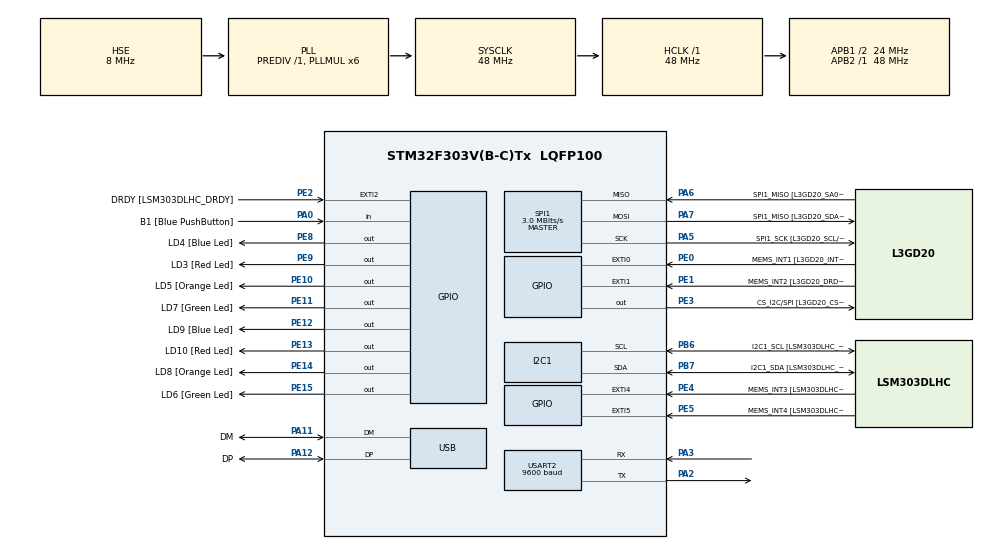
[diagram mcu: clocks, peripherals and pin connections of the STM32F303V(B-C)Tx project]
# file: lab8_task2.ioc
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I2C1.Timing=0x00201D2B
I2C1.Timing-I2C=0x2000090E
Mcu.Family=STM32F3
Mcu.Name=STM32F303V(B-C)Tx
Mcu.Package=LQFP100
NVIC.PriorityGroup=NVIC_PRIORITYGROUP_0
NVIC.SPI1_IRQn=true\:0\:0\:false\:false\:true\:true\:true\:true
PA0.GPIO_Label=B1 [Blue PushButton]
PA0.Signal=GPIO_Input
PA11.GPIO_Label=DM
PA11.Mode=Device
PA11.Signal=USB_DM
PA12.GPIO_Label=DP
PA12.Mode=Device
PA12.Signal=USB_DP
PA13.GPIO_Label=SWDIO
PA13.Mode=Serial_Wire
PA13.Signal=SYS_JTMS-SWDIO
PA14.GPIO_Label=SWCLK
PA14.Mode=Serial_Wire
PA14.Signal=SYS_JTCK-SWCLK
PA2.Mode=Asynchronous
PA2.Signal=USART2_TX
PA3.Mode=Asynchronous
PA3.Signal=USART2_RX
PA5.GPIO_Label=SPI1_SCK [L3GD20_SCL/SPC]
PA5.Mode=Full_Duplex_Master
PA5.Signal=SPI1_SCK
PA6.GPIO_Label=SPI1_MISO [L3GD20_SA0/SDO]
PA6.Mode=Full_Duplex_Master
PA6.Signal=SPI1_MISO
PA7.GPIO_Label=SPI1_MISO [L3GD20_SDA/SDI/SDO]
PA7.Mode=Full_Duplex_Master
PA7.Signal=SPI1_MOSI
PB3.GPIO_Label=SWO
PB3.Signal=SYS_JTDO-TRACESWO
PB6.GPIO_Label=I2C1_SCL [LSM303DLHC_SCL]
PB6.GPIO_Pu=GPIO_PULLUP
PB6.Mode=I2C
PB6.Signal=I2C1_SCL
PB7.GPIO_Label=I2C1_SDA [LSM303DLHC_SDA]
PB7.GPIO_Pu=GPIO_PULLUP
PB7.Mode=I2C
PB7.Signal=I2C1_SDA
PC14-OSC32_IN.GPIO_Label=OSC32_IN
PC14-OSC32_IN.Signal=RCC_OSC32_IN
PC15-OSC32_OUT.GPIO_Label=OSC32_OUT
PC15-OSC32_OUT.Signal=RCC_OSC32_OUT
PE0.GPIO_Label=MEMS_INT1 [L3GD20_INT1]
PE0.GPIO_ModeDefaultEXTI=GPIO_MODE_EVT_RISING
PE0.Signal=GPXTI0
PE1.GPIO_Label=MEMS_INT2 [L3GD20_DRDY/INT2]
PE1.GPIO_ModeDefaultEXTI=GPIO_MODE_EVT_RISING
PE1.Signal=GPXTI1
PE10.GPIO_Label=LD5 [Orange Led]
PE10.Signal=GPIO_Output
PE11.GPIO_Label=LD7 [Green Led]
PE11.Signal=GPIO_Output
PE12.GPIO_Label=LD9 [Blue Led]
PE12.Signal=GPIO_Output
PE13.GPIO_Label=LD10 [Red Led]
PE13.Signal=GPIO_Output
PE14.GPIO_Label=LD8 [Orange Led]
PE14.Signal=GPIO_Output
PE15.GPIO_Label=LD6 [Green Led]
PE15.Signal=GPIO_Output
PE2.GPIO_Label=DRDY [LSM303DLHC_DRDY]
PE2.GPIO_ModeDefaultEXTI=GPIO_MODE_EVT_RISING
PE2.Signal=GPXTI2
PE3.GPIO_Label=CS_I2C/SPI [L3GD20_CS_I2C/SPI]
PE3.Signal=GPIO_Output
PE4.GPIO_Label=MEMS_INT3 [LSM303DLHC_INT1]
PE4.GPIO_ModeDefaultEXTI=GPIO_MODE_EVT_RISING
PE4.Signal=GPXTI4
PE5.GPIO_Label=MEMS_INT4 [LSM303DLHC_INT2]
PE5.GPIO_ModeDefaultEXTI=GPIO_MODE_EVT_RISING
PE5.Signal=GPXTI5
PE8.GPIO_Label=LD4 [Blue Led]
PE8.Signal=GPIO_Output
PE9.GPIO_Label=LD3 [Red Led]
PE9.Signal=GPIO_Output
PF0-OSC_IN.GPIO_Label=OSC_IN
PF0-OSC_IN.Mode=HSE-External-Clock-Source
PF0-OSC_IN.Signal=RCC_OSC_IN
PF1-OSC_OUT.GPIO_Label=OSC_OUT
PF1-OSC_OUT.Signal=RCC_OSC_OUT
ProjectManager.HeapSize=0x200
ProjectManager.StackSize=0x400
ProjectManager.TargetToolchain=CMake
RCC.AHBFreq_Value=48000000
RCC.APB1CLKDivider=RCC_HCLK_DIV2
RCC.APB1Freq_Value=24000000
RCC.APB1TimFreq_Value=48000000
RCC.APB2Freq_Value=48000000
RCC.APB2TimFreq_Value=48000000
RCC.CortexFreq_Value=48000000
RCC.HCLKFreq_Value=48000000
RCC.HSE_VALUE=8000000
RCC.HSI_VALUE=8000000
RCC.LSE_VALUE=32768
RCC.PLLMUL=RCC_PLL_MUL6
RCC.SYSCLKFreq_VALUE=48000000
RCC.SYSCLKSourceVirtual=RCC_SYSCLKSOURCE_PLLCLK
RCC.USBFreq_Value=48000000
SPI1.BaudRatePrescaler=SPI_BAUDRATEPRESCALER_16
SPI1.BaudRatePrescaler-Full_Duplex_Master=SPI_BAUDRATEPRESCALER_2
SPI1.CLKPhase=SPI_PHASE_2EDGE
SPI1.CLKPolarity=SPI_POLARITY_HIGH
SPI1.CalculateBaudRate=3.0 MBits/s
SPI1.CalculateBaudRate-Full_Duplex_Master=24.0 MBits/s
SPI1.DataSize=SPI_DATASIZE_8BIT
SPI1.Direction=SPI_DIRECTION_2LINES
SPI1.Mode=SPI_MODE_MASTER
SPI1.Mode-Full_Duplex_Master=SPI_MODE_MASTER
SPI1.VirtualType=VM_MASTER
USART2.BaudRate=9600
USART2.VirtualMode-Asynchronous=VM_ASYNC
board=STM32F3DISCOVERY

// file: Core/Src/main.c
/* USER CODE BEGIN Header */
/**
  ******************************************************************************
  * @file           : main.c
  * @brief          : Main program body
  ******************************************************************************
  * @attention
  *
  * Copyright (c) 2025 STMicroelectronics.
  * All rights reserved.
  *
  * This software is licensed under terms that can be found in the LICENSE file
  * in the root directory of this software component.
  * If no LICENSE file comes with this software, it is provided AS-IS.
  *
  ******************************************************************************
  */
/* USER CODE END Header */
#include "main.h"
#include <stdio.h>
#include <string.h>

#define GYRO_CTRL_REG1   0x20
#define GYRO_OUT_TEMP    0x26

static volatile uint8_t spi_busy = 0;
static uint8_t tx_cmd = (uint8_t)(0x80 | (GYRO_OUT_TEMP & 0x3F)); // READ single byte (no auto-inc)
static uint8_t rx_byte = 0;

static float T0_C = 20.0f;
static int8_t raw0 = 0;

#define GYRO_WHO_AM_I   0x0F
#define CAL_ROOM_C      20   // actual room temperature in °C

static int8_t g_t0 = 0;          // baseline raw OUT_TEMP at startup
static int    g_temp_slope = -1; // default slope, updated after WHO_AM_I

I2C_HandleTypeDef hi2c1;

SPI_HandleTypeDef hspi1;

UART_HandleTypeDef huart2;

PCD_HandleTypeDef hpcd_USB_FS;

void SystemClock_Config(void);
static void MX_GPIO_Init(void);
static void MX_I2C1_Init(void);
static void MX_SPI1_Init(void);
static void MX_USART2_UART_Init(void);
static void MX_USB_PCD_Init(void);

  static inline void GYRO_CS_LOW(void)  { HAL_GPIO_WritePin(GPIOE, GPIO_PIN_3, GPIO_PIN_RESET); }
static inline void GYRO_CS_HIGH(void) { HAL_GPIO_WritePin(GPIOE, GPIO_PIN_3, GPIO_PIN_SET);  }

static void uart_print(const char *s)
{
  HAL_UART_Transmit(&huart2, (uint8_t*)s, (uint16_t)strlen(s), HAL_MAX_DELAY);
}

// CTRL_REG1 (0x20) = 0x0F  -> PD=1, Xen=1, Yen=1, Zen=1
static void gyro_init(void)
{
  uint8_t frame[2] = { GYRO_CTRL_REG1, 0x0F };  // write (Bit7=0)
  GYRO_CS_LOW();
  HAL_SPI_Transmit(&hspi1, frame, 2, HAL_MAX_DELAY);
  GYRO_CS_HIGH();
}
// Read one register over SPI (blocking)
static uint8_t gyro_read_u8(uint8_t reg)
{
  uint8_t cmd = (uint8_t)(0x80 | (reg & 0x3F));  // read, no auto-inc
  uint8_t val = 0;
  GYRO_CS_LOW();
  HAL_SPI_Transmit(&hspi1, &cmd, 1, HAL_MAX_DELAY);
  HAL_SPI_Receive(&hspi1, &val, 1, HAL_MAX_DELAY);
  GYRO_CS_HIGH();
  return val;
}

// Calibrate temperature: detect slope and capture baseline
static void gyro_temp_calibrate(void)
{
  uint8_t who = gyro_read_u8(GYRO_WHO_AM_I);

  // Determine slope based on chip ID
  if (who == 0xD4 || who == 0xD7)
      g_temp_slope = +1;   // L3GD20 family
  else
      g_temp_slope = -1;   // I3G4250D family

  // Average several samples for baseline
  int32_t sum = 0;
  for (int i = 0; i < 32; i++) {
    sum += (int8_t)gyro_read_u8(GYRO_OUT_TEMP);
    HAL_Delay(5);
  }
  g_t0 = (int8_t)(sum / 32);

  char msg[64];
  snprintf(msg, sizeof(msg), "WHO=0x%02X, t0=%d, slope=%d\r\n", who, (int)g_t0, g_temp_slope);
  uart_print(msg);
}
static void gyro_capture_baseline(void)
{
  uint8_t cmd = (uint8_t)(0x80 | (GYRO_OUT_TEMP & 0x3F));
  uint8_t r = 0;

  GYRO_CS_LOW();
  HAL_SPI_Transmit(&hspi1, &cmd, 1, HAL_MAX_DELAY);
  HAL_SPI_Receive(&hspi1, &r, 1, HAL_MAX_DELAY);
  GYRO_CS_HIGH();

  raw0 = (int8_t)r;
}

static void gyro_start_temp_read_IT(void)
{
  if (spi_busy) return;
  spi_busy = 1;
  GYRO_CS_LOW();
  if (HAL_SPI_Transmit_IT(&hspi1, &tx_cmd, 1) != HAL_OK)
  {
    GYRO_CS_HIGH();
    spi_busy = 0;
  }
}

int main(void)
{

  /* MCU Configuration--------------------------------------------------------*/

  /* Reset of all peripherals, Initializes the Flash interface and the Systick. */
  HAL_Init();

  /* Configure the system clock */
  SystemClock_Config();

  /* Initialize all configured peripherals */
  MX_GPIO_Init();
  MX_I2C1_Init();
  MX_SPI1_Init();
  MX_USART2_UART_Init();
  MX_USB_PCD_Init();
  /* USER CODE BEGIN 2 */
  HAL_GPIO_WritePin(GPIOE, GPIO_PIN_3, GPIO_PIN_SET);
  HAL_Delay(10);
  /* USER CODE END 2 */

  /* Infinite loop */
  /* USER CODE BEGIN WHILE */

  // Initialize gyro and capture baseline for temperature offset
  gyro_init();
  HAL_Delay(20);
  gyro_temp_calibrate();   // new calibration step
  HAL_Delay(20);

  uart_print("Temp stream (~ASCII degC) every ~100ms\r\n");

  while (1)
  {
    /* USER CODE END WHILE */
    gyro_start_temp_read_IT();     // non-blocking read start
    HAL_Delay(100);
  }
}

void SystemClock_Config(void)
{
  RCC_OscInitTypeDef RCC_OscInitStruct = {0};
  RCC_ClkInitTypeDef RCC_ClkInitStruct = {0};
  RCC_PeriphCLKInitTypeDef PeriphClkInit = {0};

  /** Initializes the RCC Oscillators according to the specified parameters
  * in the RCC_OscInitTypeDef structure.
  */
  RCC_OscInitStruct.OscillatorType = RCC_OSCILLATORTYPE_HSI|RCC_OSCILLATORTYPE_HSE;
  RCC_OscInitStruct.HSEState = RCC_HSE_BYPASS;
  RCC_OscInitStruct.HSEPredivValue = RCC_HSE_PREDIV_DIV1;
  RCC_OscInitStruct.HSIState = RCC_HSI_ON;
  RCC_OscInitStruct.HSICalibrationValue = RCC_HSICALIBRATION_DEFAULT;
  RCC_OscInitStruct.PLL.PLLState = RCC_PLL_ON;
  RCC_OscInitStruct.PLL.PLLSource = RCC_PLLSOURCE_HSE;
  RCC_OscInitStruct.PLL.PLLMUL = RCC_PLL_MUL6;
  if (HAL_RCC_OscConfig(&RCC_OscInitStruct) != HAL_OK)
  {
    Error_Handler();
  }

  /** Initializes the CPU, AHB and APB buses clocks
  */
  RCC_ClkInitStruct.ClockType = RCC_CLOCKTYPE_HCLK|RCC_CLOCKTYPE_SYSCLK
                              |RCC_CLOCKTYPE_PCLK1|RCC_CLOCKTYPE_PCLK2;
  RCC_ClkInitStruct.SYSCLKSource = RCC_SYSCLKSOURCE_PLLCLK;
  RCC_ClkInitStruct.AHBCLKDivider = RCC_SYSCLK_DIV1;
  RCC_ClkInitStruct.APB1CLKDivider = RCC_HCLK_DIV2;
  RCC_ClkInitStruct.APB2CLKDivider = RCC_HCLK_DIV1;

  if (HAL_RCC_ClockConfig(&RCC_ClkInitStruct, FLASH_LATENCY_1) != HAL_OK)
  {
    Error_Handler();
  }
  PeriphClkInit.PeriphClockSelection = RCC_PERIPHCLK_USB|RCC_PERIPHCLK_USART2
                              |RCC_PERIPHCLK_I2C1;
  PeriphClkInit.Usart2ClockSelection = RCC_USART2CLKSOURCE_PCLK1;
  PeriphClkInit.I2c1ClockSelection = RCC_I2C1CLKSOURCE_HSI;
  PeriphClkInit.USBClockSelection = RCC_USBCLKSOURCE_PLL;
  if (HAL_RCCEx_PeriphCLKConfig(&PeriphClkInit) != HAL_OK)
  {
    Error_Handler();
  }
}

static void MX_I2C1_Init(void)
{

  hi2c1.Instance = I2C1;
  hi2c1.Init.Timing = 0x00201D2B;
  hi2c1.Init.OwnAddress1 = 0;
  hi2c1.Init.AddressingMode = I2C_ADDRESSINGMODE_7BIT;
  hi2c1.Init.DualAddressMode = I2C_DUALADDRESS_DISABLE;
  hi2c1.Init.OwnAddress2 = 0;
  hi2c1.Init.OwnAddress2Masks = I2C_OA2_NOMASK;
  hi2c1.Init.GeneralCallMode = I2C_GENERALCALL_DISABLE;
  hi2c1.Init.NoStretchMode = I2C_NOSTRETCH_DISABLE;
  if (HAL_I2C_Init(&hi2c1) != HAL_OK)
  {
    Error_Handler();
  }

  /** Configure Analogue filter
  */
  if (HAL_I2CEx_ConfigAnalogFilter(&hi2c1, I2C_ANALOGFILTER_ENABLE) != HAL_OK)
  {
    Error_Handler();
  }

  /** Configure Digital filter
  */
  if (HAL_I2CEx_ConfigDigitalFilter(&hi2c1, 0) != HAL_OK)
  {
    Error_Handler();
  }

}

static void MX_SPI1_Init(void)
{

  /* SPI1 parameter configuration*/
  hspi1.Instance = SPI1;
  hspi1.Init.Mode = SPI_MODE_MASTER;
  hspi1.Init.Direction = SPI_DIRECTION_2LINES;
  hspi1.Init.DataSize = SPI_DATASIZE_8BIT;
  hspi1.Init.CLKPolarity = SPI_POLARITY_HIGH;
  hspi1.Init.CLKPhase = SPI_PHASE_2EDGE;
  hspi1.Init.NSS = SPI_NSS_SOFT;
  hspi1.Init.BaudRatePrescaler = SPI_BAUDRATEPRESCALER_16;
  hspi1.Init.FirstBit = SPI_FIRSTBIT_MSB;
  hspi1.Init.TIMode = SPI_TIMODE_DISABLE;
  hspi1.Init.CRCCalculation = SPI_CRCCALCULATION_DISABLE;
  hspi1.Init.CRCPolynomial = 7;
  hspi1.Init.CRCLength = SPI_CRC_LENGTH_DATASIZE;
  hspi1.Init.NSSPMode = SPI_NSS_PULSE_DISABLE;
  if (HAL_SPI_Init(&hspi1) != HAL_OK)
  {
    Error_Handler();
  }

}

static void MX_USART2_UART_Init(void)
{

  huart2.Instance = USART2;
  huart2.Init.BaudRate = 9600;
  huart2.Init.WordLength = UART_WORDLENGTH_8B;
  huart2.Init.StopBits = UART_STOPBITS_1;
  huart2.Init.Parity = UART_PARITY_NONE;
  huart2.Init.Mode = UART_MODE_TX_RX;
  huart2.Init.HwFlowCtl = UART_HWCONTROL_NONE;
  huart2.Init.OverSampling = UART_OVERSAMPLING_16;
  huart2.Init.OneBitSampling = UART_ONE_BIT_SAMPLE_DISABLE;
  huart2.AdvancedInit.AdvFeatureInit = UART_ADVFEATURE_NO_INIT;
  if (HAL_UART_Init(&huart2) != HAL_OK)
  {
    Error_Handler();
  }

}

static void MX_USB_PCD_Init(void)
{

  hpcd_USB_FS.Instance = USB;
  hpcd_USB_FS.Init.dev_endpoints = 8;
  hpcd_USB_FS.Init.speed = PCD_SPEED_FULL;
  hpcd_USB_FS.Init.phy_itface = PCD_PHY_EMBEDDED;
  hpcd_USB_FS.Init.low_power_enable = DISABLE;
  hpcd_USB_FS.Init.battery_charging_enable = DISABLE;
  if (HAL_PCD_Init(&hpcd_USB_FS) != HAL_OK)
  {
    Error_Handler();
  }

}

static void MX_GPIO_Init(void)
{
  GPIO_InitTypeDef GPIO_InitStruct = {0};

  /* GPIO Ports Clock Enable */
  __HAL_RCC_GPIOE_CLK_ENABLE();
  __HAL_RCC_GPIOC_CLK_ENABLE();
  __HAL_RCC_GPIOF_CLK_ENABLE();
  __HAL_RCC_GPIOA_CLK_ENABLE();
  __HAL_RCC_GPIOB_CLK_ENABLE();

  /*Configure GPIO pin Output Level */
  HAL_GPIO_WritePin(GPIOE, CS_I2C_SPI_Pin|LD4_Pin|LD3_Pin|LD5_Pin
                          |LD7_Pin|LD9_Pin|LD10_Pin|LD8_Pin
                          |LD6_Pin, GPIO_PIN_RESET);

  /*Configure GPIO pins : DRDY_Pin MEMS_INT3_Pin MEMS_INT4_Pin MEMS_INT1_Pin
                           MEMS_INT2_Pin */
  GPIO_InitStruct.Pin = DRDY_Pin|MEMS_INT3_Pin|MEMS_INT4_Pin|MEMS_INT1_Pin
                          |MEMS_INT2_Pin;
  GPIO_InitStruct.Mode = GPIO_MODE_EVT_RISING;
  GPIO_InitStruct.Pull = GPIO_NOPULL;
  HAL_GPIO_Init(GPIOE, &GPIO_InitStruct);

  /*Configure GPIO pins : CS_I2C_SPI_Pin LD4_Pin LD3_Pin LD5_Pin
                           LD7_Pin LD9_Pin LD10_Pin LD8_Pin
                           LD6_Pin */
  GPIO_InitStruct.Pin = CS_I2C_SPI_Pin|LD4_Pin|LD3_Pin|LD5_Pin
                          |LD7_Pin|LD9_Pin|LD10_Pin|LD8_Pin
                          |LD6_Pin;
  GPIO_InitStruct.Mode = GPIO_MODE_OUTPUT_PP;
  GPIO_InitStruct.Pull = GPIO_NOPULL;
  GPIO_InitStruct.Speed = GPIO_SPEED_FREQ_LOW;
  HAL_GPIO_Init(GPIOE, &GPIO_InitStruct);

  /*Configure GPIO pin : B1_Pin */
  GPIO_InitStruct.Pin = B1_Pin;
  GPIO_InitStruct.Mode = GPIO_MODE_INPUT;
  GPIO_InitStruct.Pull = GPIO_NOPULL;
  HAL_GPIO_Init(B1_GPIO_Port, &GPIO_InitStruct);

}

/* USER CODE BEGIN 4 */
void HAL_SPI_TxCpltCallback(SPI_HandleTypeDef *hspi)
{

  if (hspi->Instance == SPI1)
  {
    HAL_SPI_Receive_IT(&hspi1, &rx_byte, 1);
  }
}

// SPI Rx complete: finish transaction, convert to degC, print ASCII
void HAL_SPI_RxCpltCallback(SPI_HandleTypeDef *hspi)
{
  GYRO_CS_HIGH();
  spi_busy = 0;
  int8_t raw = (int8_t)rx_byte;

// Convert using calibration:  temp_c = CAL_ROOM_C + slope*(raw - g_t0)
int temp_c = CAL_ROOM_C + g_temp_slope * ((int)raw - (int)g_t0);

char line[16];
snprintf(line, sizeof(line), "%d\r\n", temp_c);
uart_print(line);

}

/* USER CODE END 4 */

void Error_Handler(void)
{
  __disable_irq();
  while (1)
  {
  }
}
